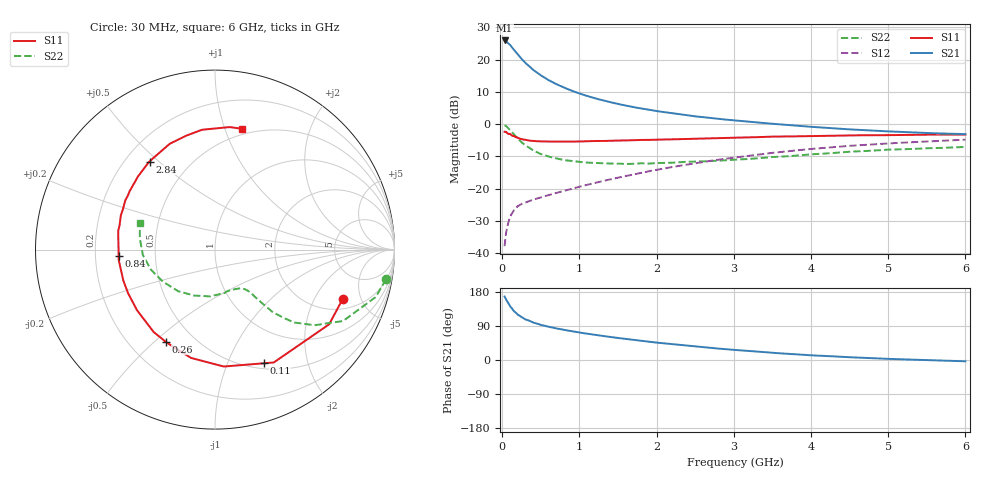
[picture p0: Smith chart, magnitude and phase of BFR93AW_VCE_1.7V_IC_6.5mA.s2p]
! Infineon Technologies  Discrete & RF Semiconductors
! BFR93AW
! VCE =  1.7 V,  IC =  6.5 mA
! Common Emitter S-Parameters:  Nov 2015
# GHz  S  MA  R  50
!  f  S11  S21  S12  S22
! GHz  MAG  ANG  MAG  ANG  MAG  ANG  MAG  ANG
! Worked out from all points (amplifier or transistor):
!   206 points, 30 MHz to 6 GHz, reference 50 ohm
!   highest |S21| = 25.9 dB at 30 MHz (marker M1)
!   |S21| within 3 dB of that: start of sweep to 154.3 MHz
!   unconditionally stable (mu >= 1): 839.3 MHz to 2.506 GHz
!   at 200 MHz: K = 0.37, MSG = 23.5 dB, |S12| = -25.4 dB
!   at 1.56 GHz: K = 1.09, MAG = 9.2 dB, |S12| = -16.3 dB
!   at 6 GHz: K = 0.96, MSG = 0.9 dB, |S12| = -4.8 dB
!   S11 on the Smith chart (normalised r, x): 30 MHz: 2.65, -3.47; 110 MHz: 0.56, -1.36; 260 MHz: 0.35, -0.54; 840 MHz: 0.30, -0.03; 2.84 GHz: 0.30, +0.47; 6 GHz: 0.45, +1.15
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0.03  0.7632 -21.0  19.77 167.6  0.0129 79.3  0.9668 -9.9
0.05  0.7601 -33.2  19.3 159.2  0.0211 74.2  0.934 -16.4
0.1  0.709 -62.5  16.94 142.0  0.0368 61.7  0.8164 -29.2
0.11  0.6892 -66.8  16.33 139.8  0.0386 59.9  0.7911 -30.6
0.15  0.6533 -85.7  14.2 129.0  0.0463 54.1  0.6954 -37.3
0.2  0.6182 -102.4  12.01 119.8  0.0537 49.4  0.6004 -42.6
0.24  0.59 -113.3  10.56 114.3  0.0571 47.3  0.538 -44.9
0.26  0.5821 -118.2  9.94 111.7  0.0586 46.6  0.5118 -45.8
0.3  0.5726 -126.6  8.864 107.2  0.0612 45.7  0.4693 -47.4
0.4  0.5503 -142.1  6.922 98.9  0.0677 45.8  0.3918 -48.8
0.5  0.5419 -153.3  5.685 92.6  0.0732 47.0  0.3438 -49.8
0.6  0.5392 -161.2  4.796 87.7  0.0797 49.1  0.3147 -50.2
0.7  0.5361 -168.3  4.167 83.3  0.0861 50.8  0.295 -51.2
0.84  0.5381 -176.0  3.516 78.1  0.0953 53.5  0.2743 -53.3
1.04  0.5406 175.0  2.877 71.2  0.1105 56.2  0.2579 -56.8
1.48  0.5574 160.4  2.079 58.6  0.1466 59.8  0.2453 -68.0
2.02  0.5767 145.2  1.582 45.5  0.1977 60.5  0.2502 -84.6
2.84  0.6114 126.6  1.195 29.4  0.2863 56.5  0.2735 -109.9
3.1  0.6196 121.1  1.116 25.3  0.3141 54.2  0.2847 -118.1
4.1  0.6569 102.6  0.893 11.5  0.4221 43.7  0.346 -151.6
5.1  0.6775 88.0  0.764 2.4  0.5107 31.7  0.4054 -178.3
6  0.6897 77.4  0.701 -3.4  0.5746 21.4  0.4439 160.5
